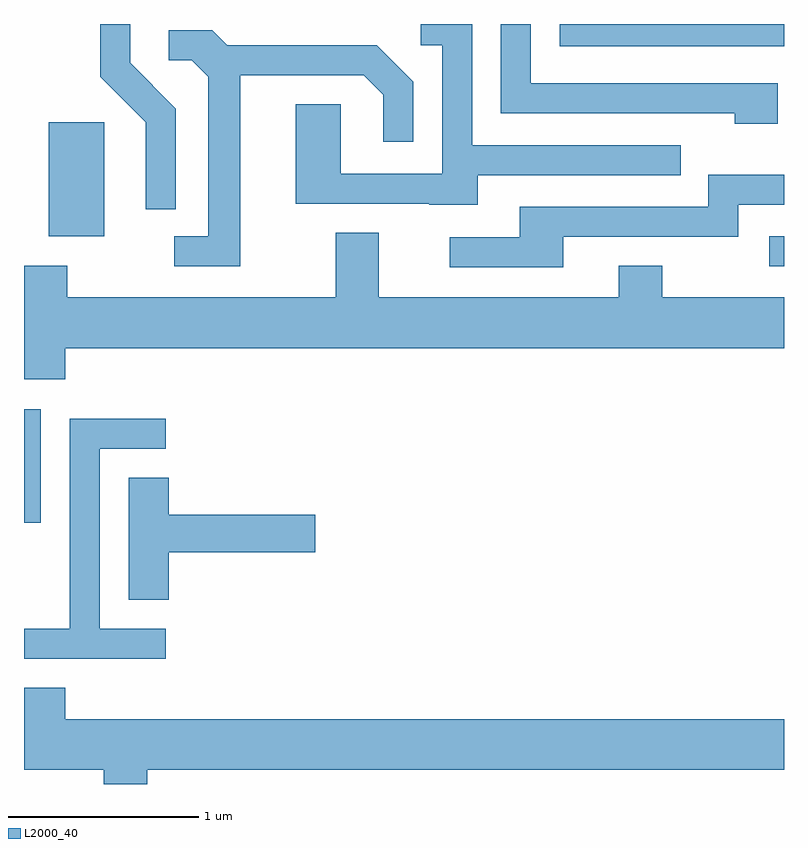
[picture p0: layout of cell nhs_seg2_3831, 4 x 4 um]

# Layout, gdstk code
import gdstk
lib = gdstk.Library(unit=1e-6, precision=1e-09)
def R(c, l, rs):  # rectangles x0, y0, x1, y1
    for r in rs: c.add(gdstk.rectangle(r[:2], r[2:], *l))
def P(c, l, *ps):  # polygons
    for p in ps: c.add(gdstk.Polygon(p, *l))
L2000_40 = (2000, 40)

nhs_seg2_3831 = lib.new_cell('nhs_seg2_3831')
R(nhs_seg2_3831, L2000_40, [(297.611,1045.176,297.699,1045.774), (301.533,1046.526,301.611,1046.684), (297.741,1046.686,298.034,1047.284), (300.431,1047.686,301.611,1047.802)])
P(nhs_seg2_3831, L2000_40, [(298.409,1047.357),(298.169,1047.597),(298.169,1047.802),(298.011,1047.802),(298.011,1047.524),(298.251,1047.284),(298.251,1046.828),(298.409,1046.828)],
  [(301.579,1047.489),(300.279,1047.489),(300.279,1047.802),(300.121,1047.802),(300.121,1047.331),(301.351,1047.331),(301.351,1047.276),(301.579,1047.276)],
  [(299.999,1047.006),(301.068,1047.006),(301.068,1047.164),(299.969,1047.164),(299.969,1047.802),(299.698,1047.802),(299.698,1047.691),(299.811,1047.691),(299.811,1047.014),(299.279,1047.014),(299.279,1047.379),(299.041,1047.379),(299.041,1046.856),(299.745,1046.856),(299.745,1046.851),(299.999,1046.851)],
  [(298.749,1047.531),(299.399,1047.531),(299.501,1047.429),(299.501,1047.183),(299.659,1047.183),(299.659,1047.497),(299.467,1047.689),(298.682,1047.689),(298.602,1047.769),(298.373,1047.769),(298.373,1047.611),(298.494,1047.611),(298.581,1047.524),(298.581,1046.684),(298.403,1046.684),(298.403,1046.526),(298.749,1046.526)],
  [(300.449,1046.681),(301.369,1046.681),(301.369,1046.851),(301.611,1046.851),(301.611,1047.009),(301.211,1047.009),(301.211,1046.839),(300.221,1046.839),(300.221,1046.679),(299.853,1046.679),(299.853,1046.521),(300.449,1046.521)],
  [(297.829,1046.096),(301.611,1046.096),(301.611,1046.364),(300.969,1046.364),(300.969,1046.529),(300.741,1046.529),(300.741,1046.364),(299.479,1046.364),(299.479,1046.704),(299.251,1046.704),(299.251,1046.364),(297.839,1046.364),(297.839,1046.529),(297.611,1046.529),(297.611,1045.931),(297.829,1045.931)],
  [(298.358,1044.619),(298.009,1044.619),(298.009,1045.566),(298.358,1045.566),(298.358,1045.724),(297.851,1045.724),(297.851,1044.619),(297.611,1044.619),(297.611,1044.461),(298.358,1044.461)],
  [(298.374,1045.021),(299.144,1045.021),(299.144,1045.219),(298.374,1045.219),(298.374,1045.414),(298.161,1045.414),(298.161,1044.771),(298.374,1044.771)],
  [(298.259,1043.876),(301.611,1043.876),(301.611,1044.144),(297.829,1044.144),(297.829,1044.309),(297.611,1044.309),(297.611,1043.876),(298.031,1043.876),(298.031,1043.802),(298.259,1043.802)])

lib.write_gds('nhs_seg2_3831.gds')
